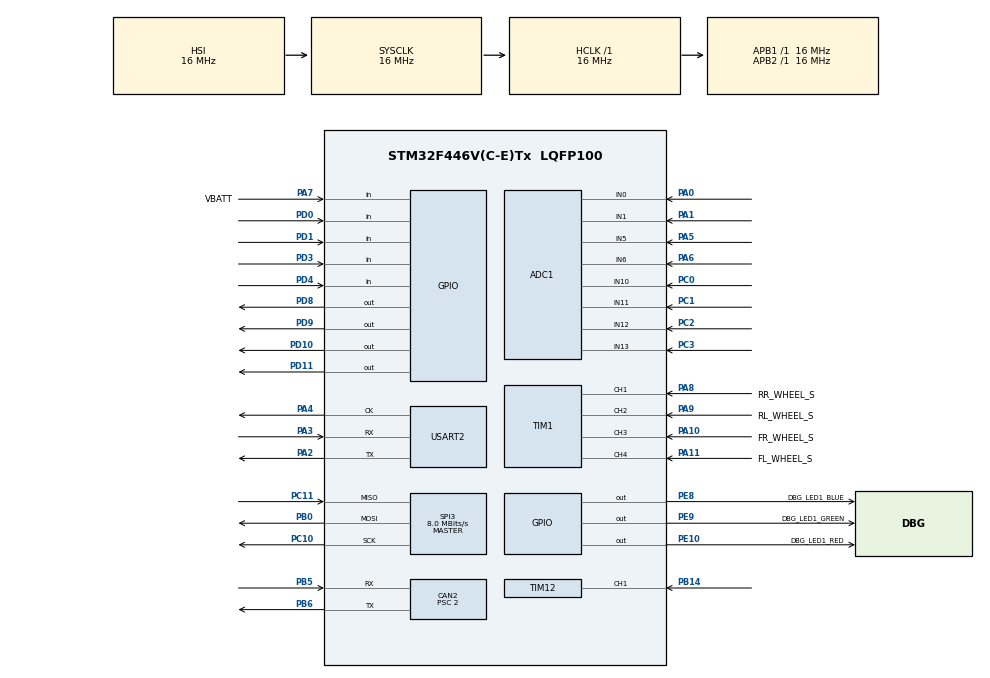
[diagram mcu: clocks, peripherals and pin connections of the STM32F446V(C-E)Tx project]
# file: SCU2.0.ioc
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ADC1.Channel-0\#ChannelRegularConversion=ADC_CHANNEL_0
ADC1.Channel-1\#ChannelRegularConversion=ADC_CHANNEL_1
ADC1.Channel-2\#ChannelRegularConversion=ADC_CHANNEL_5
ADC1.Channel-3\#ChannelRegularConversion=ADC_CHANNEL_6
ADC1.Channel-4\#ChannelRegularConversion=ADC_CHANNEL_10
ADC1.Channel-5\#ChannelRegularConversion=ADC_CHANNEL_11
ADC1.Channel-6\#ChannelRegularConversion=ADC_CHANNEL_12
ADC1.Channel-7\#ChannelRegularConversion=ADC_CHANNEL_13
ADC1.ClockPrescaler=ADC_CLOCK_SYNC_PCLK_DIV2
ADC1.ContinuousConvMode=ENABLE
ADC1.DMAContinuousRequests=ENABLE
ADC1.EOCSelection=ADC_EOC_SINGLE_CONV
ADC1.NbrOfConversion=8
ADC1.NbrOfConversionFlag=1
ADC1.Rank-0\#ChannelRegularConversion=1
ADC1.Rank-1\#ChannelRegularConversion=2
ADC1.Rank-2\#ChannelRegularConversion=3
ADC1.Rank-3\#ChannelRegularConversion=4
ADC1.Rank-4\#ChannelRegularConversion=5
ADC1.Rank-5\#ChannelRegularConversion=6
ADC1.Rank-6\#ChannelRegularConversion=7
ADC1.Rank-7\#ChannelRegularConversion=8
ADC1.SamplingTime-0\#ChannelRegularConversion=ADC_SAMPLETIME_144CYCLES
ADC1.SamplingTime-1\#ChannelRegularConversion=ADC_SAMPLETIME_144CYCLES
ADC1.SamplingTime-2\#ChannelRegularConversion=ADC_SAMPLETIME_144CYCLES
ADC1.SamplingTime-3\#ChannelRegularConversion=ADC_SAMPLETIME_144CYCLES
ADC1.SamplingTime-4\#ChannelRegularConversion=ADC_SAMPLETIME_144CYCLES
ADC1.SamplingTime-5\#ChannelRegularConversion=ADC_SAMPLETIME_144CYCLES
ADC1.SamplingTime-6\#ChannelRegularConversion=ADC_SAMPLETIME_144CYCLES
ADC1.SamplingTime-7\#ChannelRegularConversion=ADC_SAMPLETIME_144CYCLES
ADC1.ScanConvMode=ENABLE
ADC1.master=1
CAN2.BS1=CAN_BS1_13TQ
CAN2.BS2=CAN_BS2_2TQ
CAN2.CalculateBaudRate=500000
CAN2.CalculateTimeBit=2000
CAN2.CalculateTimeQuantum=125.0
CAN2.Prescaler=2
Dma.ADC1.0.Direction=DMA_PERIPH_TO_MEMORY
Dma.ADC1.0.FIFOMode=DMA_FIFOMODE_ENABLE
Dma.ADC1.0.FIFOThreshold=DMA_FIFO_THRESHOLD_FULL
Dma.ADC1.0.Instance=DMA2_Stream0
Dma.ADC1.0.MemBurst=DMA_MBURST_SINGLE
Dma.ADC1.0.MemDataAlignment=DMA_MDATAALIGN_WORD
Dma.ADC1.0.MemInc=DMA_MINC_ENABLE
Dma.ADC1.0.Mode=DMA_CIRCULAR
Dma.ADC1.0.PeriphBurst=DMA_PBURST_SINGLE
Dma.ADC1.0.PeriphDataAlignment=DMA_PDATAALIGN_WORD
Dma.ADC1.0.PeriphInc=DMA_PINC_DISABLE
Dma.ADC1.0.Priority=DMA_PRIORITY_HIGH
Dma.Request0=ADC1
FREERTOS.Events01=iwdgEventGroup,Dynamic,NULL
FREERTOS.Mutexes01=uartMutex,Dynamic,NULL
FREERTOS.Queues01=canRxPacketQueue,32,CAN_RxPacketTypeDef,0,Dynamic,NULL,NULL;canTxPacketQueue,32,CAN_TxPacketTypeDef,0,Dynamic,NULL,NULL
FREERTOS.Tasks01=defaultTask,24,512,StartDefaultTask,Default,DEFAULT_TASK_ENABLED,Dynamic,NULL,NULL;canTxTask,24,512,StartCanTxTask,As external,CAN_TX_TASK_ENABLED,Dynamic,NULL,NULL;readTempTask,24,512,StartReadTempTask,As external,READ_TEMP_TASK_ENABLED,Dynamic,NULL,NULL;readShocksTask,24,512,StartReadShocksTask,As external,READ_SHOCKS_TASK_ENABLED,Dynamic,NULL,NULL;imuCanProcTask,8,512,StartImuCanProcTask,As external,IMU_CAN_PROC_TASK_ENABLED,Dynamic,NULL,NULL;watchDogTask,40,512,StartWatchDogTask,As external,WATCH_DOG_TASK_ENABLED,Dynamic,NULL,NULL;brakeTempTask,24,512,StartReadBrakeTempTask,As external,READ_BRAKE_TEMP_TASK_ENABLED,Dynamic,NULL,NULL;readFlowmeter,24,512,StartFlowmeterTask,As external,FLOWMETER_TASK_ENABLED,Dynamic,NULL,NULL;readWheelSpeed,24,512,StartWheelSpeedTask,As external,WHEEL_SPEED_TASK_ENABLED,Dynamic,NULL,NULL
FREERTOS.configMINIMAL_STACK_SIZE=512
FREERTOS.configTOTAL_HEAP_SIZE=40000
FREERTOS.configUSE_NEWLIB_REENTRANT=1
IWDG.Reload=IWDG_RELOAD_PERIOD
Mcu.Family=STM32F4
Mcu.Name=STM32F446V(C-E)Tx
Mcu.Package=LQFP100
Mcu.UserConstants=CAN_TX_TASK_ENABLED,1;READ_TEMP_TASK_ENABLED,1;IWDG_RELOAD_PERIOD,4094;READ_BRAKE_TEMP_TASK_ENABLED,1;IWDG_EVENT_ALL_ALLOWED_BITS,0xFFFFFF;IMU_CAN_PROC_TASK_ENABLED,1;DEFAULT_TASK_ENABLED,0;READ_SHOCKS_TASK_ENABLED,1;WATCH_DOG_TASK_ENABLED,1;FLOWMETER_TASK_ENABLED,1;WHEEL_SPEED_TASK_ENABLED,1
NVIC.CAN2_RX0_IRQn=true\:5\:0\:false\:false\:true\:true\:true\:true\:true
NVIC.CAN2_SCE_IRQn=true\:5\:0\:false\:false\:true\:true\:true\:true\:true
NVIC.DMA2_Stream0_IRQn=true\:5\:0\:false\:false\:true\:true\:false\:true\:true
NVIC.PriorityGroup=NVIC_PRIORITYGROUP_4
NVIC.TIM1_CC_IRQn=true\:5\:0\:false\:false\:true\:true\:true\:true\:true
NVIC.TIM1_UP_TIM10_IRQn=true\:5\:0\:false\:false\:true\:false\:false\:true\:true
NVIC.TIM6_DAC_IRQn=true\:5\:0\:false\:false\:true\:true\:true\:true\:true
NVIC.TimeBase=TIM1_UP_TIM10_IRQn
NVIC.TimeBaseIP=TIM10
PA0-WKUP.Signal=ADCx_IN0
PA1.Signal=ADCx_IN1
PA10.GPIO_Label=FR_WHEEL_S
PA10.Signal=S_TIM1_CH3
PA11.GPIO_Label=FL_WHEEL_S
PA11.Signal=S_TIM1_CH4
PA13.Mode=Serial_Wire
PA13.Signal=SYS_JTMS-SWDIO
PA14.Mode=Serial_Wire
PA14.Signal=SYS_JTCK-SWCLK
PA2.Mode=Synchronous
PA2.Signal=USART2_TX
PA3.Mode=Synchronous
PA3.Signal=USART2_RX
PA4.Mode=Synchronous
PA4.Signal=USART2_CK
PA5.Signal=ADCx_IN5
PA6.Signal=ADCx_IN6
PA7.GPIO_Label=VBATT
PA7.Signal=GPIO_Input
PA8.GPIO_Label=RR_WHEEL_S
PA8.Signal=S_TIM1_CH1
PA9.GPIO_Label=RL_WHEEL_S
PA9.Signal=S_TIM1_CH2
PB0.Mode=Full_Duplex_Master
PB0.Signal=SPI3_MOSI
PB14.GPIO_PuPd=GPIO_PULLUP
PB14.Signal=S_TIM12_CH1
PB5.Mode=CAN_Activate
PB5.Signal=CAN2_RX
PB6.Mode=CAN_Activate
PB6.Signal=CAN2_TX
PB8.Signal=CAN1_RX
PB9.Signal=CAN1_TX
PC0.Signal=ADCx_IN10
PC1.Signal=ADCx_IN11
PC10.Mode=Full_Duplex_Master
PC10.Signal=SPI3_SCK
PC11.Mode=Full_Duplex_Master
PC11.Signal=SPI3_MISO
PC2.Signal=ADCx_IN12
PC3.Signal=ADCx_IN13
PD0.Signal=GPIO_Input
PD1.Signal=GPIO_Input
PD10.Signal=GPIO_Output
PD11.Signal=GPIO_Output
PD3.Signal=GPIO_Input
PD4.Signal=GPIO_Input
PD8.Signal=GPIO_Output
PD9.Signal=GPIO_Output
PE10.GPIO_Label=DBG_LED1_RED
PE10.Signal=GPIO_Output
PE8.GPIO_Label=DBG_LED1_BLUE
PE8.Signal=GPIO_Output
PE9.GPIO_Label=DBG_LED1_GREEN
PE9.Signal=GPIO_Output
PH0-OSC_IN.Mode=HSE-External-Oscillator
PH0-OSC_IN.Signal=RCC_OSC_IN
PH1-OSC_OUT.Mode=HSE-External-Oscillator
PH1-OSC_OUT.Signal=RCC_OSC_OUT
ProjectManager.HeapSize=0x200
ProjectManager.StackSize=0x400
ProjectManager.TargetToolchain=CMake
RCC.AHBFreq_Value=16000000
RCC.APB1Freq_Value=16000000
RCC.APB1TimFreq_Value=16000000
RCC.APB2Freq_Value=16000000
RCC.APB2TimFreq_Value=16000000
RCC.CortexFreq_Value=16000000
RCC.HCLKFreq_Value=16000000
RCC.SYSCLKFreq_VALUE=16000000
RCC.USBFreq_Value=96000000
RCC.VCOOutputFreq_Value=192000000
RTC.Format=RTC_FORMAT_BIN
RTC.Year=24
SH.ADCx_IN0.0=ADC1_IN0,IN0
SH.ADCx_IN1.0=ADC1_IN1,IN1
SH.ADCx_IN10.0=ADC1_IN10,IN10
SH.ADCx_IN11.0=ADC1_IN11,IN11
SH.ADCx_IN12.0=ADC1_IN12,IN12
SH.ADCx_IN13.0=ADC1_IN13,IN13
SH.ADCx_IN5.0=ADC1_IN5,IN5
SH.ADCx_IN6.0=ADC1_IN6,IN6
SH.S_TIM12_CH1.0=TIM12_CH1,TriggerSource_TI1FP1
SH.S_TIM1_CH1.0=TIM1_CH1,Input_Capture1_from_TI1
SH.S_TIM1_CH2.0=TIM1_CH2,Input_Capture2_from_TI2
SH.S_TIM1_CH3.0=TIM1_CH3,Input_Capture3_from_TI3
SH.S_TIM1_CH4.0=TIM1_CH4,Input_Capture4_from_TI4
SPI3.CalculateBaudRate=8.0 MBits/s
SPI3.Direction=SPI_DIRECTION_2LINES
SPI3.Mode=SPI_MODE_MASTER
SPI3.VirtualType=VM_MASTER
TIM1.Channel-Input_Capture1_from_TI1=TIM_CHANNEL_1
TIM1.Channel-Input_Capture2_from_TI2=TIM_CHANNEL_2
TIM1.Channel-Input_Capture3_from_TI3=TIM_CHANNEL_3
TIM1.Channel-Input_Capture4_from_TI4=TIM_CHANNEL_4
TIM6.Period=15999
TIM6.Prescaler=999
USART2.VirtualMode=VM_SYNC
VP_FREERTOS_VS_CMSIS_V2.Mode=CMSIS_V2
VP_IWDG_VS_IWDG.Mode=IWDG_Activate
VP_RTC_VS_RTC_Activate.Mode=RTC_Enabled
VP_RTC_VS_RTC_Calendar.Mode=RTC_Calendar
VP_SYS_VS_tim10.Mode=TIM10
VP_TIM12_VS_ControllerModeClock.Mode=Clock Mode
VP_TIM6_VS_ClockSourceINT.Mode=Enable_Timer
board=custom

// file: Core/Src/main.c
/* USER CODE BEGIN Header */
/**
  ******************************************************************************
  * @file           : main.c
  * @brief          : Main program body
  ******************************************************************************
  * @attention
  *
  * Copyright (c) 2024 STMicroelectronics.
  * All rights reserved.
  *
  * This software is licensed under terms that can be found in the LICENSE file
  * in the root directory of this software component.
  * If no LICENSE file comes with this software, it is provided AS-IS.
  *
  ******************************************************************************
  */
/* USER CODE END Header */
#include "main.h"
#include "cmsis_os.h"
#include "adc.h"
#include "can.h"
#include "dma.h"
#include "rtc.h"
#include "spi.h"
#include "tim.h"
#include "usart.h"
#include "gpio.h"

/* USER CODE BEGIN Includes */
#include "logger.h"
#include "FreeRTOS.h"
#include "task.h"
/* USER CODE END Includes */

/* USER CODE BEGIN PV */
extern osThreadId_t readFlowmeterHandle;
extern osThreadId_t readWheelSpeedHandle;
/* USER CODE END PV */

void SystemClock_Config(void);
void MX_FREERTOS_Init(void);

int main(void)
{

  /* MCU Configuration--------------------------------------------------------*/

  /* Reset of all peripherals, Initializes the Flash interface and the Systick. */
  HAL_Init();

  /* Configure the system clock */
  SystemClock_Config();

  /* Initialize all configured peripherals */
  MX_GPIO_Init();
  MX_DMA_Init();
  MX_CAN2_Init();
  MX_TIM12_Init();
  MX_USART2_Init();
  MX_ADC1_Init();
  MX_RTC_Init();
  MX_TIM6_Init();
  MX_TIM1_Init();
  MX_SPI3_Init();
  /* USER CODE BEGIN 2 */

  logMessage("Pin initialization complete.\r\n",true);

  HAL_TIM_Base_Start_IT(&htim6); //Interrupt timer for flowmeter and wheel speed

  HAL_TIM_Base_Start(&htim12); //Flowmeter counter timer

  //Wheel Speed Counter Timers
  HAL_TIM_IC_Start_IT(&htim1, TIM_CHANNEL_1);
  HAL_TIM_IC_Start_IT(&htim1, TIM_CHANNEL_2);
  HAL_TIM_IC_Start_IT(&htim1, TIM_CHANNEL_3);
  HAL_TIM_IC_Start_IT(&htim1, TIM_CHANNEL_4);

  HAL_CAN_Start(&hcan2);
  /* USER CODE END 2 */

  /* Init scheduler */
  osKernelInitialize();

  /* Call init function for freertos objects (in cmsis_os2.c) */
  MX_FREERTOS_Init();

  /* Start scheduler */
  osKernelStart();

  /* We should never get here as control is now taken by the scheduler */

  /* Infinite loop */
  while (1)
  {

  }
}

void SystemClock_Config(void)
{
  RCC_OscInitTypeDef RCC_OscInitStruct = {0};
  RCC_ClkInitTypeDef RCC_ClkInitStruct = {0};

  /** Configure the main internal regulator output voltage
  */
  __HAL_RCC_PWR_CLK_ENABLE();
  __HAL_PWR_VOLTAGESCALING_CONFIG(PWR_REGULATOR_VOLTAGE_SCALE3);

  /** Initializes the RCC Oscillators according to the specified parameters
  * in the RCC_OscInitTypeDef structure.
  */
  RCC_OscInitStruct.OscillatorType = RCC_OSCILLATORTYPE_HSI|RCC_OSCILLATORTYPE_LSI;
  RCC_OscInitStruct.LSEState = RCC_LSE_OFF;
  RCC_OscInitStruct.HSIState = RCC_HSI_ON;
  RCC_OscInitStruct.HSICalibrationValue = RCC_HSICALIBRATION_DEFAULT;
  RCC_OscInitStruct.LSIState = RCC_LSI_ON;
  RCC_OscInitStruct.PLL.PLLState = RCC_PLL_NONE;
  if (HAL_RCC_OscConfig(&RCC_OscInitStruct) != HAL_OK)
  {
    Error_Handler();
  }

  /** Initializes the CPU, AHB and APB buses clocks
  */
  RCC_ClkInitStruct.ClockType = RCC_CLOCKTYPE_HCLK|RCC_CLOCKTYPE_SYSCLK
                              |RCC_CLOCKTYPE_PCLK1|RCC_CLOCKTYPE_PCLK2;
  RCC_ClkInitStruct.SYSCLKSource = RCC_SYSCLKSOURCE_HSI;
  RCC_ClkInitStruct.AHBCLKDivider = RCC_SYSCLK_DIV1;
  RCC_ClkInitStruct.APB1CLKDivider = RCC_HCLK_DIV1;
  RCC_ClkInitStruct.APB2CLKDivider = RCC_HCLK_DIV1;

  if (HAL_RCC_ClockConfig(&RCC_ClkInitStruct, FLASH_LATENCY_0) != HAL_OK)
  {
    Error_Handler();
  }
}

void HAL_TIM_PeriodElapsedCallback(TIM_HandleTypeDef *htim)
{
  if (htim->Instance == TIM10) {
    HAL_IncTick();
  }
  /* USER CODE BEGIN Callback 1 */
  if (htim->Instance == TIM6) {
      BaseType_t higherPriorityTaskWoken = pdFALSE;
      if (readFlowmeterHandle != NULL) {
          vTaskNotifyGiveFromISR((TaskHandle_t)readFlowmeterHandle,  &higherPriorityTaskWoken);
      }
      if (readWheelSpeedHandle != NULL) {
          vTaskNotifyGiveFromISR((TaskHandle_t)readWheelSpeedHandle, &higherPriorityTaskWoken);
      }
      portYIELD_FROM_ISR(higherPriorityTaskWoken);
  }
  /* USER CODE END Callback 1 */
}

void Error_Handler(void)
{
  __disable_irq();
  while (1)
  {
  }
}

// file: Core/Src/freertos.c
/* USER CODE BEGIN Header */
/**
  ******************************************************************************
  * File Name          : freertos.c
  * Description        : Code for freertos applications
  ******************************************************************************
  * @attention
  *
  * Copyright (c) 2024 STMicroelectronics.
  * All rights reserved.
  *
  * This software is licensed under terms that can be found in the LICENSE file
  * in the root directory of this software component.
  * If no LICENSE file comes with this software, it is provided AS-IS.
  *
  ******************************************************************************
  */
/* USER CODE END Header */

#include "FreeRTOS.h"
#include "task.h"
#include "main.h"
#include "cmsis_os.h"

/* USER CODE BEGIN Includes */
#include "can.h"
#include "usart.h"
#include <string.h>
/* USER CODE END Includes */

/* Definitions for defaultTask */
osThreadId_t defaultTaskHandle;
const osThreadAttr_t defaultTask_attributes = {
  .name = "defaultTask",
  .stack_size = 512 * 4,
  .priority = (osPriority_t) osPriorityNormal,
};
/* Definitions for canTxTask */
osThreadId_t canTxTaskHandle;
const osThreadAttr_t canTxTask_attributes = {
  .name = "canTxTask",
  .stack_size = 512 * 4,
  .priority = (osPriority_t) osPriorityNormal,
};
/* Definitions for readTempTask */
osThreadId_t readTempTaskHandle;
const osThreadAttr_t readTempTask_attributes = {
  .name = "readTempTask",
  .stack_size = 512 * 4,
  .priority = (osPriority_t) osPriorityNormal,
};
/* Definitions for readShocksTask */
osThreadId_t readShocksTaskHandle;
const osThreadAttr_t readShocksTask_attributes = {
  .name = "readShocksTask",
  .stack_size = 512 * 4,
  .priority = (osPriority_t) osPriorityNormal,
};
/* Definitions for imuCanProcTask */
osThreadId_t imuCanProcTaskHandle;
const osThreadAttr_t imuCanProcTask_attributes = {
  .name = "imuCanProcTask",
  .stack_size = 512 * 4,
  .priority = (osPriority_t) osPriorityLow,
};
/* Definitions for watchDogTask */
osThreadId_t watchDogTaskHandle;
const osThreadAttr_t watchDogTask_attributes = {
  .name = "watchDogTask",
  .stack_size = 512 * 4,
  .priority = (osPriority_t) osPriorityHigh,
};
/* Definitions for brakeTempTask */
osThreadId_t brakeTempTaskHandle;
const osThreadAttr_t brakeTempTask_attributes = {
  .name = "brakeTempTask",
  .stack_size = 512 * 4,
  .priority = (osPriority_t) osPriorityNormal,
};
/* Definitions for readFlowmeter */
osThreadId_t readFlowmeterHandle;
const osThreadAttr_t readFlowmeter_attributes = {
  .name = "readFlowmeter",
  .stack_size = 512 * 4,
  .priority = (osPriority_t) osPriorityNormal,
};
/* Definitions for readWheelSpeed */
osThreadId_t readWheelSpeedHandle;
const osThreadAttr_t readWheelSpeed_attributes = {
  .name = "readWheelSpeed",
  .stack_size = 512 * 4,
  .priority = (osPriority_t) osPriorityNormal,
};
/* Definitions for canRxPacketQueue */
osMessageQueueId_t canRxPacketQueueHandle;
const osMessageQueueAttr_t canRxPacketQueue_attributes = {
  .name = "canRxPacketQueue"
};
/* Definitions for canTxPacketQueue */
osMessageQueueId_t canTxPacketQueueHandle;
const osMessageQueueAttr_t canTxPacketQueue_attributes = {
  .name = "canTxPacketQueue"
};
/* Definitions for uartMutex */
osMutexId_t uartMutexHandle;
const osMutexAttr_t uartMutex_attributes = {
  .name = "uartMutex"
};
/* Definitions for iwdgEventGroup */
osEventFlagsId_t iwdgEventGroupHandle;
const osEventFlagsAttr_t iwdgEventGroup_attributes = {
  .name = "iwdgEventGroup"
};

void StartDefaultTask(void *argument);
extern void StartCanTxTask(void *argument);
extern void StartReadTempTask(void *argument);
extern void StartReadShocksTask(void *argument);
extern void StartImuCanProcTask(void *argument);
extern void StartWatchDogTask(void *argument);
extern void StartReadBrakeTempTask(void *argument);
extern void StartFlowmeterTask(void *argument);
extern void StartWheelSpeedTask(void *argument);

void MX_FREERTOS_Init(void); /* (MISRA C 2004 rule 8.1) */

void MX_FREERTOS_Init(void) {
  /* Create the mutex(es) */
  /* creation of uartMutex */
  uartMutexHandle = osMutexNew(&uartMutex_attributes);

  /* Create the queue(s) */
  /* creation of canRxPacketQueue */
  canRxPacketQueueHandle = osMessageQueueNew (32, sizeof(CAN_RxPacketTypeDef), &canRxPacketQueue_attributes);

  /* creation of canTxPacketQueue */
  canTxPacketQueueHandle = osMessageQueueNew (32, sizeof(CAN_TxPacketTypeDef), &canTxPacketQueue_attributes);

  /* Create the thread(s) */
  /* creation of defaultTask */
  defaultTaskHandle = osThreadNew(StartDefaultTask, (void*) DEFAULT_TASK_ENABLED, &defaultTask_attributes);

  /* creation of canTxTask */
  canTxTaskHandle = osThreadNew(StartCanTxTask, (void*) CAN_TX_TASK_ENABLED, &canTxTask_attributes);

  /* creation of readTempTask */
  readTempTaskHandle = osThreadNew(StartReadTempTask, (void*) READ_TEMP_TASK_ENABLED, &readTempTask_attributes);

  /* creation of readShocksTask */
  readShocksTaskHandle = osThreadNew(StartReadShocksTask, (void*) READ_SHOCKS_TASK_ENABLED, &readShocksTask_attributes);

  /* creation of imuCanProcTask */
  imuCanProcTaskHandle = osThreadNew(StartImuCanProcTask, (void*) IMU_CAN_PROC_TASK_ENABLED, &imuCanProcTask_attributes);

  /* creation of watchDogTask */
  watchDogTaskHandle = osThreadNew(StartWatchDogTask, (void*) WATCH_DOG_TASK_ENABLED, &watchDogTask_attributes);

  /* creation of brakeTempTask */
  brakeTempTaskHandle = osThreadNew(StartReadBrakeTempTask, (void*) READ_BRAKE_TEMP_TASK_ENABLED, &brakeTempTask_attributes);

  /* creation of readFlowmeter */
  readFlowmeterHandle = osThreadNew(StartFlowmeterTask, (void*) FLOWMETER_TASK_ENABLED, &readFlowmeter_attributes);

  /* creation of readWheelSpeed */
  readWheelSpeedHandle = osThreadNew(StartWheelSpeedTask, (void*) WHEEL_SPEED_TASK_ENABLED, &readWheelSpeed_attributes);

  /* creation of iwdgEventGroup */
  iwdgEventGroupHandle = osEventFlagsNew(&iwdgEventGroup_attributes);

}

void StartDefaultTask(void *argument)
{
  /* USER CODE BEGIN StartDefaultTask */
    uint8_t isTaskActivated = (int)argument;
    if (isTaskActivated == 0) {
        osThreadTerminate(osThreadGetId());
    }
  /* Infinite loop */
  for(;;)
  {
    osDelay(1);
  }
  /* USER CODE END StartDefaultTask */
}

/* USER CODE BEGIN Application */

void vApplicationStackOverflowHook(TaskHandle_t xTask, char *pcTaskName)
{
    const char *msg = "Stack overflow detected in task: ";
    const char *newline = "\r\n";

    HAL_USART_Transmit(&husart2, (uint8_t *)msg, strlen(msg), HAL_MAX_DELAY);

    if (pcTaskName != NULL)
    {
        HAL_USART_Transmit(&husart2, (uint8_t *)pcTaskName, strlen(pcTaskName), HAL_MAX_DELAY);
    }
    else
    {
        const char *unknown = "Unknown";
        HAL_USART_Transmit(&husart2, (uint8_t *)unknown, strlen(unknown), HAL_MAX_DELAY);
    }

    HAL_USART_Transmit(&husart2, (uint8_t *)newline, strlen(newline), HAL_MAX_DELAY);

    taskDISABLE_INTERRUPTS();
    for(;;);
}
/* USER CODE END Application */
